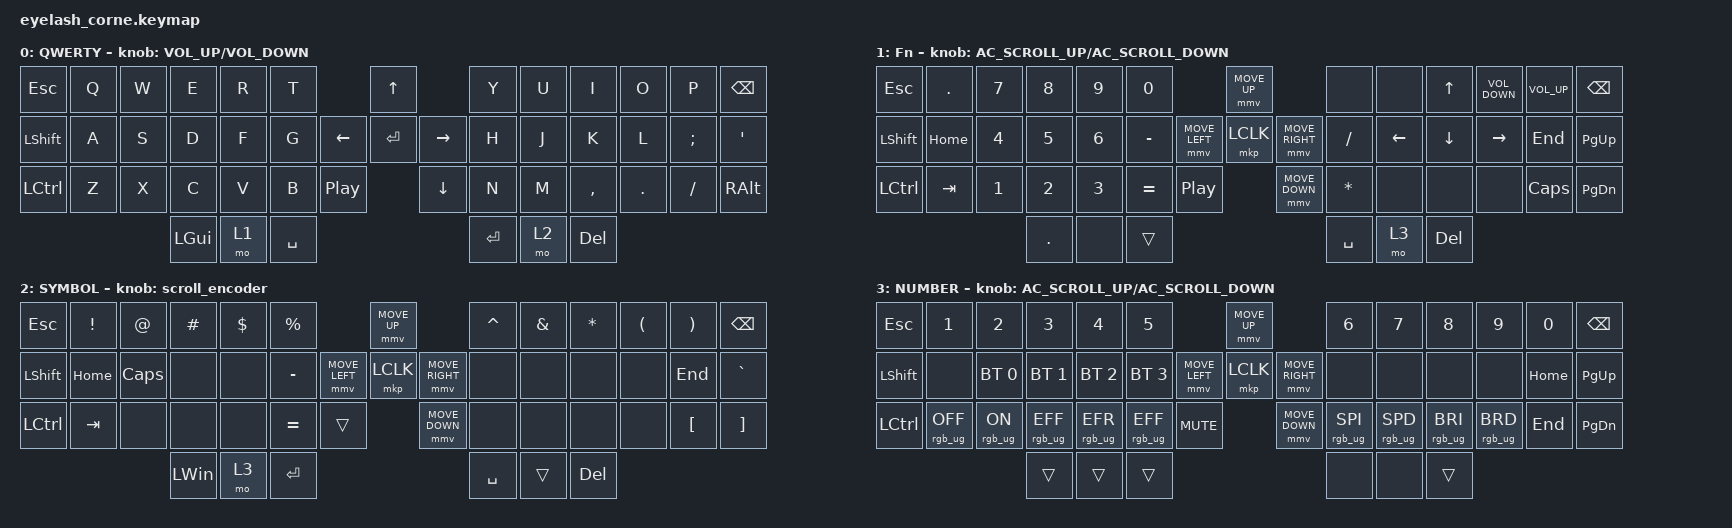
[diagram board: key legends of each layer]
#include <dt-bindings/zmk/mouse.h>
#include <input/processors.dtsi>
#include <behaviors.dtsi>
#include <dt-bindings/zmk/bt.h>
#include <dt-bindings/zmk/keys.h>
#include <dt-bindings/zmk/pointing.h>
#include <dt-bindings/zmk/rgb.h>

/*

   &mmv_input_listener {
       input-processors = <&zip_xy_scaler 2 1>;
   };

   &msc_input_listener {
       input-processors = <&zip_xy_scaler 2 1>;
   };

 */

#define ZMK_MOUSE_DEFAULT_MOVE_VAL 1200  // 600
#define ZMK_MOUSE_DEFAULT_SCRL_VAL 20    // 10

/ {
    behaviors {
        td0: td0 {
            compatible = "zmk,behavior-tap-dance";
            display-name = "Shift/Caps Lock Tap Dance";
            #binding-cells = <0>;
            bindings = <&kp LEFT_SHIFT>, <&kp CAPS>;
        };
    };

    rgb_encoder: rgb_encoder {
        compatible = "zmk,behavior-sensor-rotate";
        #sensor-binding-cells = <0>;
        bindings = <&rgb_ug RGB_BRI>, <&rgb_ug RGB_BRD>;
    };

    scroll_encoder: scroll_encoder {
        compatible = "zmk,behavior-sensor-rotate";
        #sensor-binding-cells = <0>;
        bindings = <&msc SCRL_DOWN>, <&msc SCRL_UP>;

        tap-ms = <30>;
    };

    keymap {
        compatible = "zmk,keymap";

        default_layer {
            display-name = "QWERTY";
            bindings = <
&kp ESCAPE  &kp Q  &kp W  &kp E     &kp R  &kp T                                    &kp UP                &kp Y      &kp U  &kp I      &kp O    &kp P     &kp BSPC
&kp LSHFT   &kp A  &kp S  &kp D     &kp F  &kp G                          &kp LEFT  &kp ENTER  &kp RIGHT  &kp H      &kp J  &kp K      &kp L    &kp SEMI  &kp SQT
&kp LCTRL   &kp Z  &kp X  &kp C     &kp V  &kp B      &kp C_PLAY_PAUSE              &kp DOWN              &kp N      &kp M  &kp COMMA  &kp DOT  &kp FSLH  &kp RALT
                          &kp LGUI  &mo 1  &kp SPACE                                                      &kp ENTER  &mo 2  &kp DEL
            >;

            sensor-bindings = <&inc_dec_kp C_VOLUME_UP C_VOLUME_DOWN>;
        };

        layer_3 {
            display-name = "Fn";
            bindings = <
&kp ESCAPE  &kp PERIOD  &kp NUMBER_7  &kp NUMBER_8  &kp NUMBER_9  &kp NUMBER_0                                      &mmv MOVE_UP                     &none         &none     &kp UP_ARROW  &kp C_VOLUME_DOWN  &kp C_VOLUME_UP  &kp BACKSPACE
&kp LSHFT   &kp HOME    &kp NUMBER_4  &kp NUMBER_5  &kp NUMBER_6  &kp MINUS                         &mmv MOVE_LEFT  &mkp LCLK       &mmv MOVE_RIGHT  &kp SLASH     &kp LEFT  &kp DOWN      &kp RIGHT          &kp END          &kp PAGE_UP
&kp LCTRL   &kp TAB     &kp NUMBER_1  &kp NUMBER_2  &kp NUMBER_3  &kp EQUAL     &kp C_PLAY_PAUSE                    &mmv MOVE_DOWN                   &kp ASTERISK  &none     &none         &none              &kp CAPSLOCK     &kp PAGE_DOWN
                                      &kp PERIOD    &none         &trans                                                                             &kp SPACE     &mo 3     &kp DELETE
            >;

            sensor-bindings = <&inc_dec_kp C_AC_SCROLL_UP C_AC_SCROLL_DOWN>;
        };

        raise_layer {
            display-name = "SYMBOL";
            bindings = <
&kp ESCAPE  &kp EXCL  &kp AT    &kp HASH      &kp DLLR  &kp PRCNT                            &mmv MOVE_UP                     &kp CARET  &kp AMPS  &kp ASTRK   &kp LPAR  &kp RPAR          &kp BSPC
&kp LSHFT   &kp HOME  &kp CAPS  &none         &none     &kp MINUS            &mmv MOVE_LEFT  &mkp LCLK       &mmv MOVE_RIGHT  &none      &none     &none       &none     &kp END           &kp GRAVE
&kp LCTRL   &kp TAB   &none     &none         &none     &kp EQUAL  &trans                    &mmv MOVE_DOWN                   &none      &none     &none       &none     &kp LEFT_BRACKET  &kp RIGHT_BRACKET
                                &kp LEFT_WIN  &mo 3     &kp ENTER                                                             &kp SPACE  &trans    &kp DELETE
            >;

            sensor-bindings = <&scroll_encoder>;
        };

        lower_layer {
            display-name = "NUMBER";
            bindings = <
&kp ESCAPE  &kp N1           &kp N2          &kp N3           &kp N4           &kp N5                                         &mmv MOVE_UP                     &kp N6           &kp N7           &kp N8           &kp N9           &kp N0    &kp BSPC
&kp LSHFT   &none            &bt BT_SEL 0    &bt BT_SEL 1     &bt BT_SEL 2     &bt BT_SEL 3                   &mmv MOVE_LEFT  &mkp LCLK       &mmv MOVE_RIGHT  &none            &none            &none            &none            &kp HOME  &kp PG_UP
&kp LCTRL   &rgb_ug RGB_OFF  &rgb_ug RGB_ON  &rgb_ug RGB_EFF  &rgb_ug RGB_EFR  &rgb_ug RGB_EFF  &kp C_MUTE                    &mmv MOVE_DOWN                   &rgb_ug RGB_SPI  &rgb_ug RGB_SPD  &rgb_ug RGB_BRI  &rgb_ug RGB_BRD  &kp END   &kp PG_DN
                                             &trans           &trans           &trans                                                                          &none            &none            &trans
            >;

            sensor-bindings = <&inc_dec_kp C_AC_SCROLL_UP C_AC_SCROLL_DOWN>;
        };
    };
};
